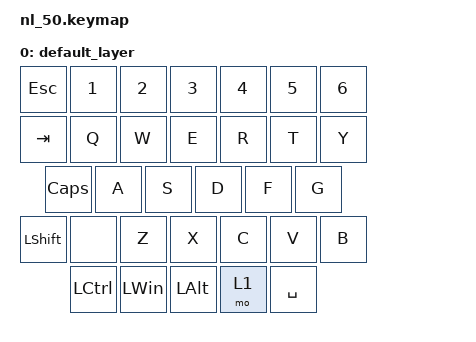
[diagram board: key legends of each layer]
/*
 * Copyright (c) 2021 Ninh.D.H
 *
 * SPDX-License-Identifier: MIT
 */

#include <behaviors.dtsi>
#include <dt-bindings/zmk/keys.h>
#include <dt-bindings/zmk/bt.h>
#include <dt-bindings/zmk/outputs.h>

/ {
	keymap0: keymap {
		compatible = "zmk,keymap";

		default_layer {
    // ---------------------------------------------------------------------------------------------------------
    // | ESC | F1  | F2  | F3  | F4  | F5  | F6  | F7  | F8  | F9  | F0  | F11 | F12 | PrtSc | Pause |  Delete |
    // |  ~  |  1  |  2  |  3  |  4  |  5  |  6  |  7  |  8  |  9  |  0  |  -  |  =  | Backspace | Back | Home |
    // | TAB  |  Q  |  W  |  E  |  R  |  T  |  Y  |  U  |  I  |  O  |  P  |  [  |  ]  |  \  |  Del  |  Page U  |
    // | CAPS  |  A  |  S  |  D  |  F  |  G  |  H  |  J  |  K  |  L  |  ;  |  '  |   ENTER  | Enter |  Page D  |
    // | SHIFT   |  Z  |  X  |  C  |  V  |  B  |  N  |  M  |  ,  |  .  |  /  | SHIFT | Null |   Up  |    End   |
    // | CTRL  |  WIN  |  ALT  | Fn | SPACE |   SPACE   | Menu | WIN | ALT |  CTRL  | Left  |  Down |  Right   |
    // ---------------------------------------------------------------------------------------------------------


		bindings = <
	  			      &kp ESC   &kp N1     &kp N2   &kp N3 &kp N4 &kp N5 &kp N6 
	        			&kp TAB   &kp Q      &kp W    &kp E  &kp R  &kp T  &kp Y
	        			&kp CLCK  &kp A      &kp S    &kp D  &kp F  &kp G
	        			&kp LSHFT &none      &kp Z    &kp X  &kp C  &kp V  &kp B
	        			&kp LCTRL &kp LWIN   &kp LALT &mo 1  &kp SPACE
							>;
		};

		// bindings = <
    //             &kp ESC   &kp F1     &kp F2   &kp F3 &kp F4 &kp F5 &kp F6 &kp F7 &kp F8    &kp F9    &kp F10  &kp F11   &kp F12   &kp PSCRN &kp C_PLAY_PAUSE &kp DEL
	  // 			      &kp GRAVE &kp N1     &kp N2   &kp N3 &kp N4 &kp N5 &kp N6 &kp N7 &kp N8    &kp N9    &kp N0   &kp MINUS &kp EQUAL &kp BSPC  &kp BACKSPACE    &kp HOME
	  //       			&kp TAB   &kp Q      &kp W    &kp E  &kp R  &kp T  &kp Y  &kp U  &kp I     &kp O     &kp P    &kp LBKT  &kp RBKT  &kp BSLH  &kp DEL          &kp PG_UP
	  //       			&kp CLCK  &kp A      &kp S    &kp D  &kp F  &kp G  &kp H  &kp J  &kp K     &kp L     &kp SEMI &kp SQT   &kp ENTER &kp RET   &kp PG_DN
	  //       			&kp LSHFT &none      &kp Z    &kp X  &kp C  &kp V  &kp B  &kp N  &kp M     &kp COMMA &kp DOT  &kp FSLH  &kp RSHFT &none     &kp UP    &kp END
	  //       			&kp LCTRL &kp LWIN   &kp LALT &mo 1  &kp SPACE     &kp SPACE     &none     &kp K_CMENU        &kp RWIN  &kp RALT  &kp RCTRL        &kp LEFT  &kp DOWN   &kp RIGHT
		// 					>;
		// };

		// fn_layer {
		// bindings = <
		// 					&trans &out OUT_USB  &out OUT_BLE  &none  &none  &none  &none  &none  &none  &none  &none  &none  &none  &none  &none  &bootloader
		// 					&none  &bt BT_SEL 0 &bt BT_SEL 1 &bt BT_SEL 2 &bt BT_SEL 3 &bt BT_SEL 4 &bt BT_SEL 5 &none &none  &none  &none &none &none &reset &reset &trans
		// 					&trans &bt BT_CLR    &none  &none  &none  &none  &none  &none  &none  &none  &none  &none  &none  &none  &none &none
		// 					&trans &none  &none  &none  &none  &none  &none  &none  &none  &none  &none  &none  &trans &trans &trans
		// 					&trans &none  &none  &none  &none  &none  &none  &none  &none  &none  &none  &none  &trans &trans &trans &trans
		// 					&trans &trans &trans &trans &trans &trans &trans &trans &trans &trans &trans &trans &trans &trans
		// 					>;
		// };
	};
};
